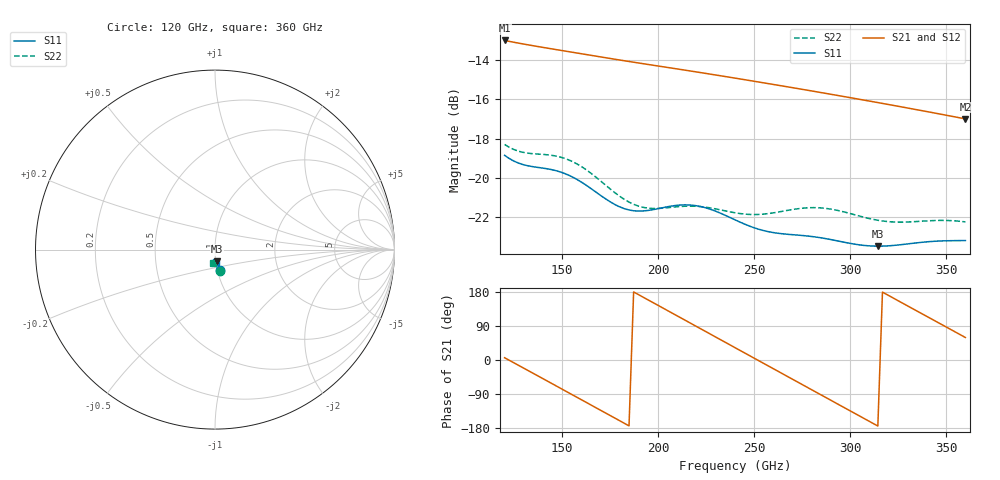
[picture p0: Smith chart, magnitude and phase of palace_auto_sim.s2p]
#  GHZ S DB R 50
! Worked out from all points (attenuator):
!   101 points, 120 GHz to 360 GHz, reference 50 ohm
!   highest |S21| = -12.99 dB at 120 GHz (marker M1); lowest = -17.0 dB at 360 GHz (marker M2)
!   lowest |S11| = -23.5 dB at 314.4 GHz (marker M3), VSWR 1.14, Z = 50.6 - j6.71 ohm
!   |S11| at or under -10 dB: start of sweep to end of sweep
!   |S22| runs from -22.3 to -18.3 dB; largest |S21 - S12| = 3.9e-16
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120  -18.86 -77.0  -12.99 5.9  -12.99 5.9  -18.30 -78.0
129.6  -19.33 -74.8  -13.17 -20.6  -13.17 -20.6  -18.71 -76.3
141.6  -19.54 -74.5  -13.37 -53.8  -13.37 -53.8  -18.82 -76.8
151.2  -19.78 -76.3  -13.52 -80.4  -13.52 -80.4  -19.01 -79.5
160.8  -20.28 -78.3  -13.68 -107.1  -13.68 -107.1  -19.48 -82.7
172.8  -21.10 -78.6  -13.87 -140.4  -13.87 -140.4  -20.40 -84.9
182.4  -21.58 -76.7  -14.02 -167.1  -14.02 -167.1  -21.11 -84.0
192  -21.70 -74.4  -14.17 166.2  -14.17 166.2  -21.51 -81.6
201.6  -21.55 -73.7  -14.32 139.5  -14.32 139.5  -21.56 -79.7
211.2  -21.40 -75.1  -14.46 112.8  -14.46 112.8  -21.47 -79.5
220.8  -21.45 -77.7  -14.61 86.1  -14.61 86.1  -21.47 -80.6
230.4  -21.73 -80.1  -14.76 59.3  -14.76 59.3  -21.60 -81.8
240  -22.15 -81.5  -14.91 32.6  -14.91 32.6  -21.79 -82.3
249.6  -22.55 -81.6  -15.07 5.9  -15.07 5.9  -21.88 -82.1
259.2  -22.79 -81.1  -15.22 -20.8  -15.22 -20.8  -21.81 -82.1
271.2  -22.92 -80.8  -15.42 -54.2  -15.42 -54.2  -21.61 -83.5
280.8  -23.02 -81.2  -15.58 -80.9  -15.58 -80.9  -21.53 -85.9
295.2  -23.27 -81.8  -15.83 -120.9  -15.83 -120.9  -21.71 -89.7
314.4  -23.50 -80.9  -16.16 -174.2  -16.16 -174.2  -22.18 -92.0
321.6  -23.47 -80.6  -16.29 165.8  -16.29 165.8  -22.26 -92.3
340.8  -23.27 -81.4  -16.64 112.6  -16.64 112.6  -22.20 -94.0
360  -23.21 -83.6  -17.00 59.4  -17.00 59.4  -22.26 -98.2
